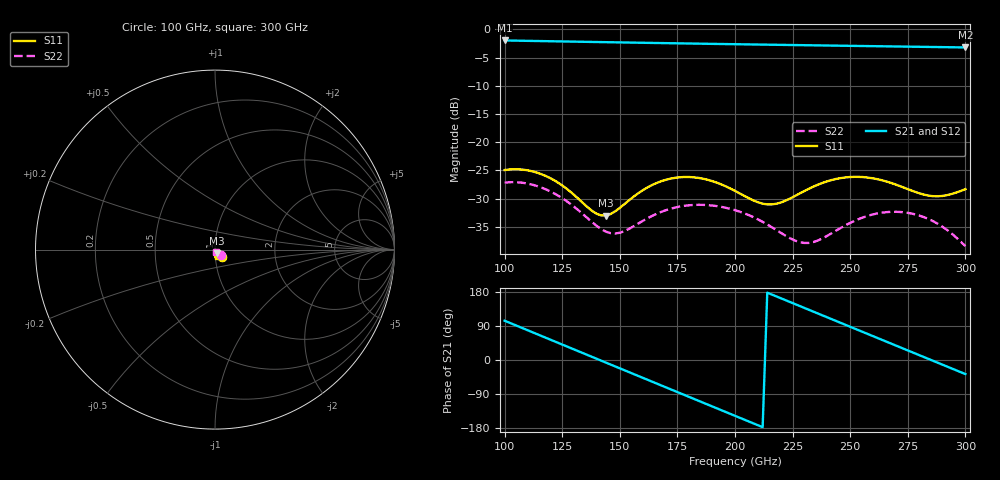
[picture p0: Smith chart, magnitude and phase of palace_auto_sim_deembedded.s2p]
! Created with skrf 1.11.0 (http://scikit-rf.org).
# GHz S DB R 50.0
!freq dBS11 angS11 dBS21 angS21 dBS12 angS12 dBS22 angS22
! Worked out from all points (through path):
!   101 points, 100 GHz to 300 GHz, reference 50 ohm
!   highest |S21| = -1.98 dB at 100 GHz (marker M1); lowest = -3.2 dB at 300 GHz (marker M2)
!   group delay of S21, straight-line fit = 6.95 ps
!   lowest |S11| = -33.0 dB at 144 GHz (marker M3), VSWR 1.05, Z = 51 - j2.03 ohm
!   |S11| at or under -10 dB: start of sweep to end of sweep
!   |S22| runs from -38.4 to -27.1 dB; largest |S21 - S12| = 8.7e-14
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100  -24.93 -49.0  -1.98 103.7  -1.98 103.7  -27.15 -40.2
108  -24.86 -62.6  -2.04 83.6  -2.04 83.6  -27.20 -52.3
116  -25.66 -75.4  -2.09 63.4  -2.09 63.4  -28.04 -63.8
126  -27.95 -86.9  -2.16 38.3  -2.16 38.3  -30.18 -74.6
134  -30.77 -86.6  -2.22 18.2  -2.22 18.2  -32.74 -76.8
144  -32.98 -62.5  -2.28 -6.9  -2.28 -6.9  -35.85 -62.3
156  -29.64 -43.8  -2.36 -37.0  -2.36 -37.0  -34.89 -36.3
168  -26.91 -52.5  -2.44 -67.1  -2.44 -67.1  -32.34 -34.9
176  -26.21 -62.5  -2.49 -87.2  -2.49 -87.2  -31.40 -40.8
184  -26.31 -72.8  -2.55 -107.2  -2.55 -107.2  -31.09 -48.3
200  -28.62 -85.3  -2.64 -147.3  -2.64 -147.3  -32.04 -63.3
208  -30.31 -81.6  -2.69 -167.3  -2.69 -167.3  -33.28 -68.7
216  -31.02 -69.4  -2.74 172.7  -2.74 172.7  -35.06 -70.2
224  -29.96 -58.5  -2.78 152.7  -2.78 152.7  -37.03 -63.7
234  -27.87 -57.1  -2.84 127.7  -2.84 127.7  -37.68 -43.9
242  -26.69 -62.5  -2.89 107.7  -2.89 107.7  -36.11 -33.4
250  -26.16 -70.2  -2.93 87.7  -2.93 87.7  -34.29 -33.1
258  -26.28 -78.0  -2.98 67.7  -2.98 67.7  -33.00 -39.0
268  -27.25 -85.0  -3.04 42.7  -3.04 42.7  -32.33 -50.5
284  -29.45 -79.7  -3.13 2.8  -3.13 2.8  -33.61 -70.5
292  -29.38 -70.3  -3.17 -17.2  -3.17 -17.2  -35.53 -77.3
300  -28.32 -64.7  -3.22 -37.2  -3.22 -37.2  -38.41 -75.7
